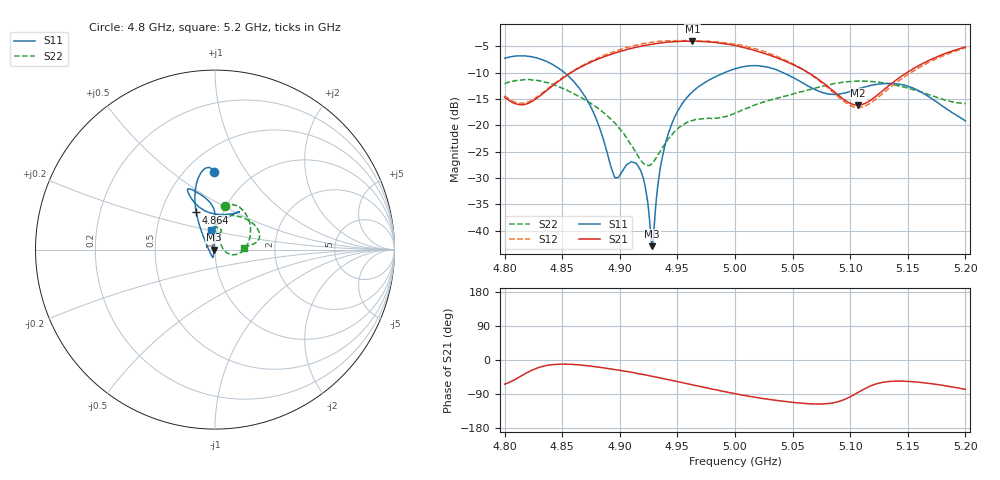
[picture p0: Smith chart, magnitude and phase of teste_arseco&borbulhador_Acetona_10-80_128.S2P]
! Network Analyzer HP8722D
! Hewlett-Packard
! Data name: Linha & Wilkinson
! Saver's name: Rodrigo Anjos
! Comments: Teste da utilização de aquisição
! continua pelo VNA HP8722D
! Time and date: 25/4/2025 16:20
!  Frequency  S11  S21  S12  S22
# HZ  S  MA R 50
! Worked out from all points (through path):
!   401 points, 4.8 GHz to 5.2 GHz, reference 50 ohm
!   highest |S21| = -3.98 dB at 4.963 GHz (marker M1); lowest = -16.1 dB at 5.107 GHz (marker M2)
!   lowest |S11| = -42.9 dB at 4.928 GHz (marker M3), VSWR 1.01, Z = 49.3 - j0.0854 ohm
!   |S11| at or under -10 dB: 4.852 GHz to 4.991 GHz (138.5 MHz wide, 2.81 % of centre); 5.042 GHz to end of sweep
!   |S22| runs from -27.6 to -11.3 dB; largest |S21 - S12| = 1.2
!   S11 on the Smith chart (normalised r, x): 4.8 GHz: 0.68, +0.72; 4.864 GHz: 0.75, +0.33; 5.2 GHz: 0.94, +0.21
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4.8e9  0.4348 90.7  0.1858 -63.9  0.1914 69.7  0.2478 77.1
4.82e9  0.4535 97.1  0.1611 -32.6  0.167 98.3  0.2723 61.8
4.843e9  0.3724 106.4  0.2448 -11.9  0.2489 118.9  0.2439 37.1
4.864e9  0.2322 116.8  0.3497 -12.8  0.3526 121.1  0.1899 12.3
4.867e9  0.2095 118.4  0.3631 -13.7  0.3676 120.7  0.1832 8.7
4.88e9  0.1121 128.5  0.4228 -18.2  0.4326 118.3  0.1486 -5.1
4.896e9  0.03199 -166.2  0.4877 -25.6  0.5068 113.2  0.1047 -15.9
4.909e9  0.04466 -107.4  0.537 -32.1  0.5608 107.7  0.06698 -14.3
4.917e9  0.03903 -103.3  0.5619 -36.4  0.5895 103.6  0.04888 -1.6
4.922e9  0.02635 -106.9  0.5749 -39.2  0.6022 100.8  0.04272 15.8
4.928e9  0.007137 -173.0  0.5903 -42.9  0.6172 97.1  0.04338 40.1
4.93e9  0.0117 126.0  0.5963 -44.1  0.6207 95.8  0.04648 47.5
4.934e9  0.03251 99.8  0.6042 -46.6  0.6294 93.4  0.05433 57.9
4.945e9  0.1029 90.3  0.6218 -53.7  0.6385 86.3  0.08091 69.7
4.963e9  0.2081 90.6  0.6324 -65.5  0.6364 74.8  0.1112 71.3
5e9  0.3455 109.2  0.5743 -89.0  0.5926 50.9  0.1309 88.6
5.029e9  0.3572 115.2  0.47 -103.7  0.4868 34.4  0.1723 85.9
5.067e9  0.2263 105.3  0.3013 -115.8  0.2986 23.6  0.2219 57.3
5.107e9  0.2224 64.2  0.1559 -85.5  0.148 57.7  0.2637 24.3
5.134e9  0.2511 57.4  0.2405 -56.7  0.2262 88.7  0.248 12.4
5.169e9  0.1855 69.8  0.4181 -61.9  0.4007 84.8  0.1947 6.8
5.2e9  0.1109 100.5  0.5556 -77.6  0.5451 70.2  0.1613 3.9
